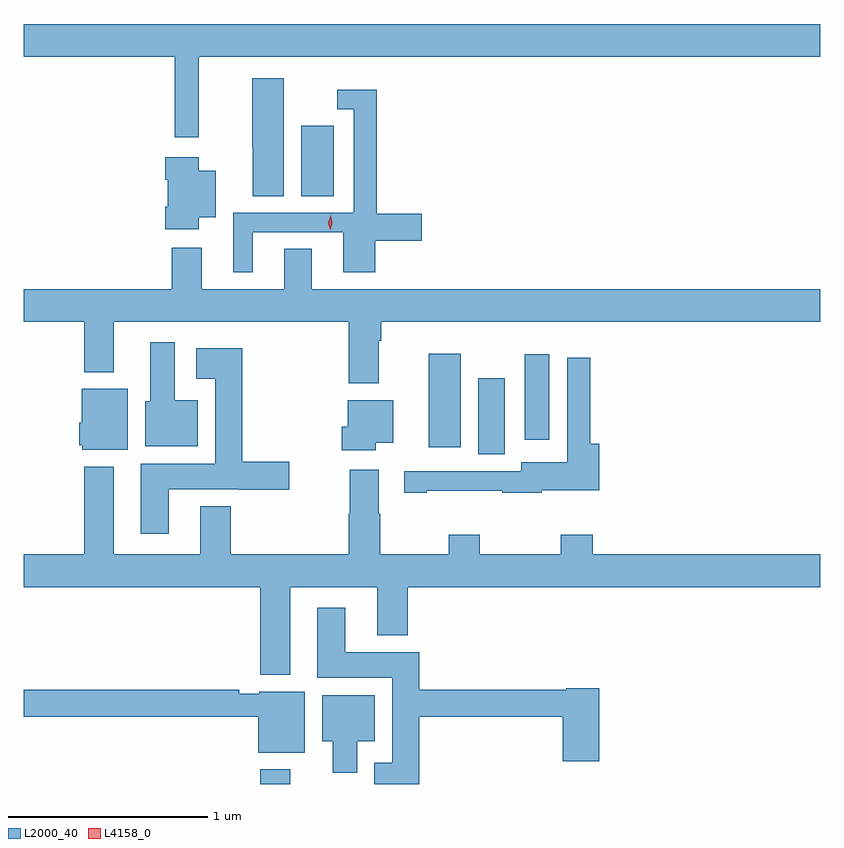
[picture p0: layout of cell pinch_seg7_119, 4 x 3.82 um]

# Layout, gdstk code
import gdstk
lib = gdstk.Library(unit=1e-6, precision=1e-09)
def R(c, l, rs):  # rectangles x0, y0, x1, y1
    for r in rs: c.add(gdstk.rectangle(r[:2], r[2:], *l))
def P(c, l, *ps):  # polygons
    for p in ps: c.add(gdstk.Polygon(p, *l))
L2000_40 = (2000, 40)
L4158_0 = (4158, 0)

pinch_seg7_119 = lib.new_cell('pinch_seg7_119')
R(pinch_seg7_119, L2000_40, [(909.731,1016.943,909.883,1017.016), (910.826,1018.6,910.96,1018.981), (910.577,1018.635,910.738,1019.104), (911.06,1018.671,911.182,1019.101), (909.938,1019.896,910.102,1020.25)])
P(pinch_seg7_119, L2000_40, [(909.422,1020.596),(912.544,1020.596),(912.544,1020.76),(908.544,1020.76),(908.544,1020.596),(909.301,1020.596),(909.301,1020.192),(909.422,1020.192)],
  [(909.85,1020.487),(909.692,1020.487),(909.692,1020.138),(909.695,1020.138),(909.695,1019.896),(909.85,1019.896)],
  [(909.694,1019.715),(910.148,1019.715),(910.148,1019.514),(910.31,1019.514),(910.31,1019.672),(910.543,1019.672),(910.543,1019.807),(910.316,1019.807),(910.316,1020.43),(910.119,1020.43),(910.119,1020.333),(910.2,1020.333),(910.2,1019.811),(909.596,1019.811),(909.596,1019.514),(909.694,1019.514)],
  [(909.424,1019.789),(909.508,1019.789),(909.508,1020.022),(909.424,1020.022),(909.424,1020.091),(909.254,1020.091),(909.254,1019.978),(909.266,1019.978),(909.266,1019.842),(909.254,1019.842),(909.254,1019.73),(909.424,1019.73)],
  [(910.327,1019.168),(910.34,1019.168),(910.34,1019.264),(912.544,1019.264),(912.544,1019.428),(909.991,1019.428),(909.991,1019.63),(909.851,1019.63),(909.851,1019.428),(909.439,1019.428),(909.439,1019.635),(909.287,1019.635),(909.287,1019.428),(908.544,1019.428),(908.544,1019.264),(908.848,1019.264),(908.848,1019.012),(908.995,1019.012),(908.995,1019.264),(910.175,1019.264),(910.175,1018.955),(910.327,1018.955)],
  [(909.418,1018.87),(909.301,1018.87),(909.301,1019.161),(909.179,1019.161),(909.179,1018.866),(909.155,1018.866),(909.155,1018.64),(909.418,1018.64)],
  [(909.271,1018.424),(909.624,1018.424),(909.624,1018.42),(909.877,1018.42),(909.877,1018.562),(909.641,1018.562),(909.641,1019.131),(909.411,1019.131),(909.411,1018.979),(909.506,1018.979),(909.506,1018.552),(909.131,1018.552),(909.131,1018.2),(909.271,1018.2)],
  [(910.567,1018.417),(910.946,1018.417),(910.946,1018.407),(911.146,1018.407),(911.146,1018.418),(911.435,1018.418),(911.435,1018.651),(911.39,1018.651),(911.39,1019.083),(911.274,1019.083),(911.274,1018.558),(911.042,1018.558),(911.042,1018.515),(910.455,1018.515),(910.455,1018.407),(910.567,1018.407)],
  [(909.067,1018.927),(908.834,1018.927),(908.834,1018.758),(908.822,1018.758),(908.822,1018.644),(908.838,1018.644),(908.838,1018.622),(909.067,1018.622)],
  [(910.312,1018.658),(910.399,1018.658),(910.399,1018.87),(910.172,1018.87),(910.172,1018.737),(910.142,1018.737),(910.142,1018.619),(910.312,1018.619)],
  [(909.883,1017.932),(910.319,1017.932),(910.319,1017.689),(910.472,1017.689),(910.472,1017.932),(912.544,1017.932),(912.544,1018.096),(911.402,1018.096),(911.402,1018.195),(911.242,1018.195),(911.242,1018.096),(910.833,1018.096),(910.833,1018.195),(910.678,1018.195),(910.678,1018.096),(910.335,1018.096),(910.335,1018.301),(910.327,1018.301),(910.327,1018.522),(910.18,1018.522),(910.18,1018.301),(910.175,1018.301),(910.175,1018.096),(909.584,1018.096),(909.584,1018.339),(909.431,1018.339),(909.431,1018.096),(908.995,1018.096),(908.995,1018.537),(908.848,1018.537),(908.848,1018.096),(908.544,1018.096),(908.544,1017.932),(909.731,1017.932),(909.731,1017.491),(909.883,1017.491)],
  [(910.529,1017.28),(911.252,1017.28),(911.252,1017.057),(911.435,1017.057),(911.435,1017.424),(911.268,1017.424),(911.268,1017.416),(910.529,1017.416),(910.529,1017.604),(910.159,1017.604),(910.159,1017.829),(910.019,1017.829),(910.019,1017.476),(910.394,1017.476),(910.394,1017.049),(910.304,1017.049),(910.304,1016.943),(910.529,1016.943)],
  [(909.955,1017.406),(909.726,1017.406),(909.726,1017.396),(909.626,1017.396),(909.626,1017.416),(908.544,1017.416),(908.544,1017.28),(909.722,1017.28),(909.722,1017.101),(909.955,1017.101)],
  [(910.219,1017.158),(910.306,1017.158),(910.306,1017.388),(910.043,1017.388),(910.043,1017.158),(910.097,1017.158),(910.097,1017),(910.219,1017)])
P(pinch_seg7_119, L4158_0, [(910.083,1019.727),(910.083,1019.727),(910.074,1019.763),(910.086,1019.798),(910.086,1019.799),(910.086,1019.798),(910.094,1019.762),(910.083,1019.727)])

lib.write_gds('pinch_seg7_119.gds')
